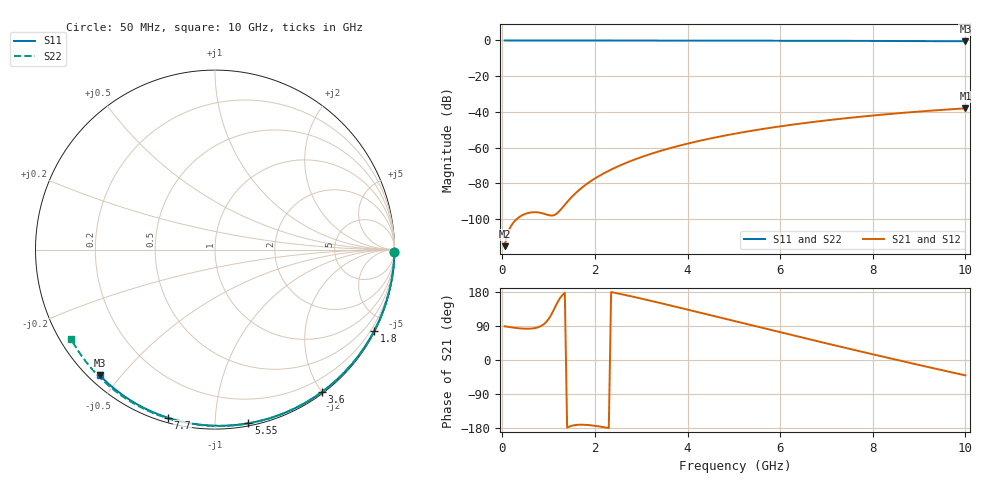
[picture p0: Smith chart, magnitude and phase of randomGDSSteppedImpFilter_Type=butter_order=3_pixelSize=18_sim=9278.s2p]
! freq	dB(S11)	phase(S11)	dB(S12)	phase(S12)
!  dB(S21)	phase(S21)	dB(S22)	phase(S22)
!S-par simulation data
#  GHz  S  DB  R 50
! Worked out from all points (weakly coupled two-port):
!   200 points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, 50 MHz to 10 GHz, reference 50 ohm
!   highest |S21| = -38.01 dB at 10 GHz (marker M1); lowest = -115.2 dB at 50 MHz (marker M2)
!   lowest |S11| = -0.4 dB at 10 GHz (marker M3), VSWR 39.11, Z = 1.53 - j22 ohm
!   |S11| at or under -10 dB: nowhere
!   |S22| runs from -0.5 to 0.0 dB; largest |S21 - S12| = 0
!   S11 on the Smith chart (normalised r, x): 50 MHz: open; 1.8 GHz: 0.04, -4.15; 3.6 GHz: 0.02, -2.01; 5.55 GHz: 0.02, -1.21; 7.7 GHz: 0.02, -0.76; 10 GHz: 0.03, -0.44
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0.05  -0.00 -0.8  -115.19 89.0  -115.19 89.0  -0.00 -0.9
0.45  -0.01 -6.9  -97.61 82.8  -97.61 82.8  -0.01 -7.7
0.9  -0.02 -13.7  -97.01 94.8  -97.01 94.8  -0.02 -15.3
1.75  -0.03 -26.3  -81.79 -170.9  -81.79 -170.9  -0.04 -29.4
1.8  -0.03 -27.1  -80.80 -171.1  -80.80 -171.1  -0.04 -30.3
1.85  -0.04 -27.8  -79.87 -171.6  -79.87 -171.6  -0.04 -31.1
2  -0.04 -30.0  -77.29 -173.6  -77.29 -173.6  -0.04 -33.6
2.15  -0.04 -32.2  -75.01 -176.4  -75.01 -176.4  -0.05 -36.0
2.35  -0.04 -35.1  -72.30 179.2  -72.30 179.2  -0.05 -39.3
2.55  -0.05 -38.0  -69.90 174.3  -69.90 174.3  -0.05 -42.5
2.95  -0.06 -43.8  -65.79 163.5  -65.79 163.5  -0.06 -48.9
3.4  -0.07 -50.2  -61.97 150.7  -61.97 150.7  -0.07 -55.9
3.6  -0.07 -53.0  -60.47 144.8  -60.47 144.8  -0.08 -59.1
4.3  -0.09 -62.6  -55.96 124.0  -55.96 124.0  -0.10 -69.7
5.05  -0.11 -72.6  -52.07 101.6  -52.07 101.6  -0.12 -80.8
5.55  -0.13 -79.1  -49.87 86.6  -49.87 86.6  -0.14 -88.0
6.1  -0.15 -86.1  -47.73 70.3  -47.73 70.3  -0.17 -95.8
6.7  -0.18 -93.6  -45.68 52.6  -45.68 52.6  -0.20 -104.1
7.7  -0.24 -105.7  -42.79 23.6  -42.79 23.6  -0.27 -117.6
8.35  -0.29 -113.4  -41.20 5.1  -41.20 5.1  -0.33 -126.2
9.2  -0.36 -123.3  -39.42 -18.7  -39.42 -18.7  -0.41 -137.4
10  -0.44 -132.5  -38.01 -40.6  -38.01 -40.6  -0.50 -148.1
